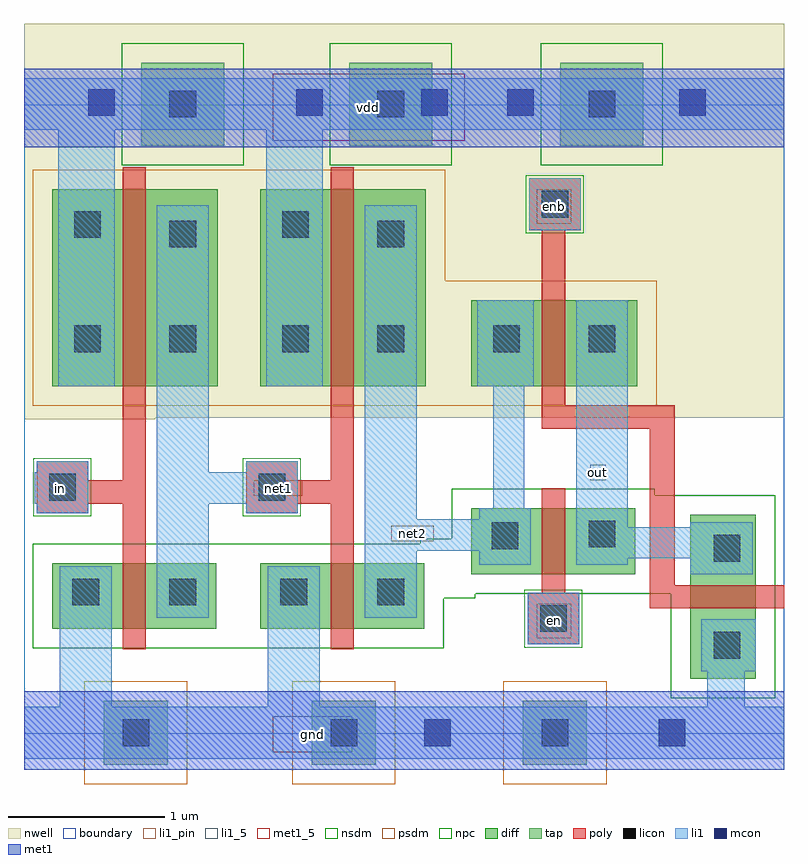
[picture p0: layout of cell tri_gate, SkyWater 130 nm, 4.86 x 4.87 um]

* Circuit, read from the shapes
.subckt tri_gate en enb gnd in net1 net2 out vdd
XM1 net1 in gnd gnd sky130_fd_pr__nfet_01v8 w=0.42 l=0.15
XM2 net2 net1 gnd gnd sky130_fd_pr__nfet_01v8 w=0.42 l=0.15
XM3 out en net2 gnd sky130_fd_pr__nfet_01v8 w=0.42 l=0.15
XM4 out enb gnd gnd sky130_fd_pr__nfet_01v8 w=0.42 l=0.15
XM5 net1 in vdd vdd sky130_fd_pr__pfet_01v8 w=1.26 l=0.15
XM6 net2 net1 vdd vdd sky130_fd_pr__pfet_01v8 w=1.26 l=0.15
XM7 out enb net2 vdd sky130_fd_pr__pfet_01v8 w=0.55 l=0.15
.ends

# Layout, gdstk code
import gdstk
lib = gdstk.Library(unit=1e-6, precision=1e-09)
def R(c, l, rs):  # rectangles x0, y0, x1, y1
    for r in rs: c.add(gdstk.rectangle(r[:2], r[2:], *l))
nwell = (64, 20)
diff = (65, 20)
tap = (65, 44)
poly = (66, 20)
licon = (66, 44)
li1_5 = (67, 5)
li1_pin = (67, 16)
li1 = (67, 20)
mcon = (67, 44)
met1_5 = (68, 5)
met1 = (68, 20)
nsdm = (93, 44)
psdm = (94, 20)
npc = (95, 20)
boundary = (235, 4)

tri_gate = lib.new_cell('tri_gate')
R(tri_gate, nwell, [(-0.03,4.24,0.81,4.25), (-0.03,4.25,4.83,6.77)])
R(tri_gate, diff, [(4.23,2.58,4.65,3.63), (0.15,2.9,1.2,3.32), (1.48,2.9,2.53,3.32), (2.83,3.25,3.88,3.67), (0.15,4.45,1.21,5.71), (1.48,4.45,2.54,5.71), (2.83,4.45,3.89,5)])
R(tri_gate, tap, [(0.48,2.03,0.89,2.44), (1.81,2.03,2.22,2.44), (3.16,2.03,3.57,2.44), (0.72,5.99,1.25,6.52), (2.05,5.99,2.58,6.52), (3.4,5.99,3.93,6.52)])
R(tri_gate, poly, [(0.6,2.77,0.75,3.7), (1.93,2.77,2.08,3.7), (3.19,2.8,3.52,3.13), (3.97,3.03,4.83,3.18), (3.28,3.13,3.43,3.8), (3.97,3.18,4.13,4.18), (0.05,3.64,0.38,3.7), (1.39,3.64,1.72,3.7), (0.05,3.7,0.75,3.85), (1.39,3.7,2.08,3.85), (0.05,3.85,0.38,3.97), (0.6,3.85,0.75,5.85), (1.39,3.85,1.72,3.97), (1.93,3.85,2.08,5.85), (3.28,4.18,4.13,4.33), (3.28,4.33,3.43,5.45), (3.2,5.45,3.53,5.78)])
R(tri_gate, licon, [(0.6,2.15,0.77,2.32), (1.93,2.15,2.1,2.32), (3.28,2.15,3.45,2.32), (4.38,2.71,4.55,2.88), (3.27,2.88,3.44,3.05), (0.28,3.05,0.45,3.22), (0.9,3.05,1.07,3.22), (1.61,3.05,1.78,3.22), (2.23,3.05,2.4,3.22), (4.38,3.33,4.55,3.5), (2.96,3.41,3.13,3.58), (3.58,3.42,3.75,3.59), (0.13,3.72,0.3,3.89), (1.47,3.72,1.64,3.89), (0.29,4.67,0.46,4.84), (0.9,4.67,1.07,4.84), (1.62,4.67,1.79,4.84), (2.23,4.67,2.4,4.84), (2.97,4.67,3.14,4.84), (3.58,4.67,3.75,4.84), (0.9,5.34,1.07,5.51), (2.23,5.34,2.4,5.51), (0.29,5.4,0.46,5.57), (1.62,5.4,1.79,5.57), (3.28,5.53,3.45,5.7), (0.9,6.17,1.07,6.34), (2.23,6.17,2.4,6.34), (3.58,6.17,3.75,6.34)])
R(tri_gate, li1_5, [(3.25,2.84,3.47,3.06), (0.15,3.73,0.26,3.86), (3.59,3.85,3.69,3.95), (3.25,5.49,3.47,5.71)])
R(tri_gate, li1_pin, [(2.32,3.46,2.59,3.56), (1.44,3.75,1.75,3.85)])
R(tri_gate, li1, [(-0.03,2.07,4.83,2.4), (0.2,2.4,0.53,3.3), (1.53,2.4,1.86,3.3), (4.34,2.4,4.58,2.63), (4.3,2.63,4.65,2.96), (3.19,2.8,3.52,3.13), (0.82,2.97,1.15,3.7), (2.15,2.97,2.48,3.4), (4.23,3.25,4.63,3.35), (2.88,3.31,3.21,3.4), (3.5,3.31,3.83,3.35), (3.5,3.35,4.63,3.55), (2.15,3.4,3.21,3.6), (3.5,3.55,3.83,5), (4.23,3.55,4.63,3.58), (2.15,3.6,2.48,5.61), (2.88,3.6,3.21,3.67), (0.05,3.64,0.38,3.7), (1.39,3.64,1.72,3.7), (2.97,3.67,3.17,4.45), (0.04,3.7,0.38,3.9), (0.82,3.7,1.72,3.9), (0.05,3.9,0.38,3.97), (0.82,3.9,1.15,5.61), (1.39,3.9,1.72,3.97), (0.19,4.45,0.55,6.09), (1.52,4.45,1.88,6.09), (2.87,4.45,3.23,5), (3.2,5.45,3.53,5.78), (-0.03,6.09,4.83,6.42)])
R(tri_gate, mcon, [(2.53,2.15,2.7,2.32), (4.03,2.15,4.2,2.32), (0.38,6.18,0.55,6.35), (1.71,6.18,1.88,6.35), (2.51,6.18,2.68,6.35), (3.06,6.18,3.23,6.35), (4.16,6.18,4.33,6.35)])
R(tri_gate, met1_5, [(1.56,2.11,2.07,2.34), (1.56,6.02,2.79,6.45)])
R(tri_gate, met1, [(-0.03,2,4.83,2.5), (-0.03,5.98,4.83,6.48)])
R(tri_gate, nsdm, [(4.105,2.455,4.775,3.125), (0.025,2.775,2.655,3.095), (0.025,3.095,2.855,3.125), (0.025,3.125,4.775,3.445), (2.505,3.445,4.775,3.475), (2.705,3.475,4.775,3.755), (2.705,3.755,4.005,3.795), (0.595,5.865,1.375,6.645), (1.925,5.865,2.705,6.645), (3.275,5.865,4.055,6.645)])
R(tri_gate, psdm, [(0.355,1.905,1.015,2.565), (1.685,1.905,2.345,2.565), (3.035,1.905,3.695,2.565), (0.025,4.325,4.015,5.125), (0.025,5.125,2.665,5.835)])
R(tri_gate, npc, [(3.17,2.78,3.54,3.15), (0.03,3.62,0.4,3.99), (1.37,3.62,1.74,3.99), (3.18,5.43,3.55,5.8)])
R(tri_gate, boundary, [(-0.03,2.23,4.83,6.25)])
tri_gate.add(gdstk.Label('net2', (2.455,3.51), layer=67, texttype=16))
tri_gate.add(gdstk.Label('net1', (1.595,3.8), layer=67, texttype=16))
tri_gate.add(gdstk.Label('in', (0.205,3.795), layer=67, texttype=5))
tri_gate.add(gdstk.Label('en', (3.36,2.95), layer=67, texttype=5))
tri_gate.add(gdstk.Label('enb', (3.36,5.6), layer=67, texttype=5))
tri_gate.add(gdstk.Label('gnd', (1.815,2.225), layer=68, texttype=5))
tri_gate.add(gdstk.Label('vdd', (2.175,6.235), layer=68, texttype=5))
tri_gate.add(gdstk.Label('out', (3.64,3.9), layer=67, texttype=5))

lib.write_gds('tri_gate.gds')
